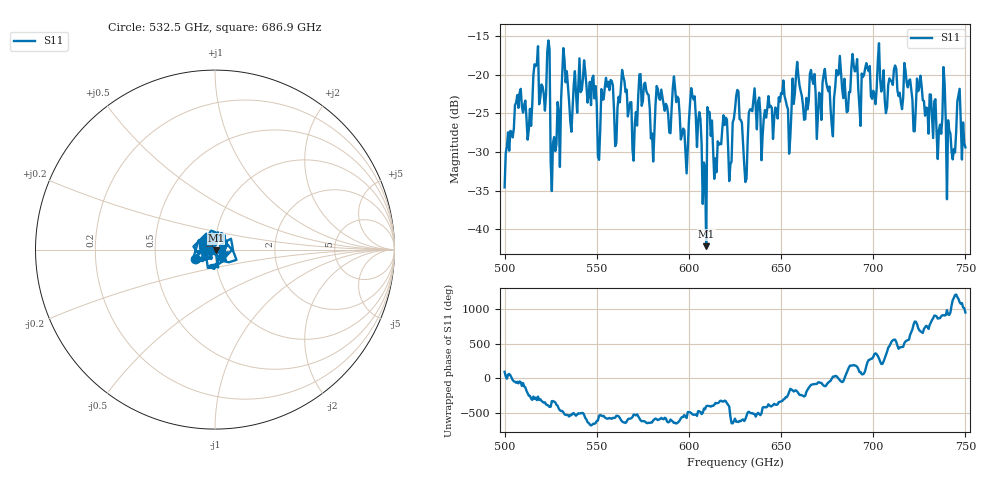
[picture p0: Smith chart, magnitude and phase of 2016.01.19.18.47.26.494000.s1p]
!Created with skrf (http://scikit-rf.org).
# GHz S RI R 50.0
!freq ReS11 ImS11
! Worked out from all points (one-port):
!   401 points, 500 GHz to 750 GHz, reference 50 ohm
!   lowest |S11| = -42.2 dB at 609.4 GHz (marker M1), VSWR 1.02, Z = 50.6 - j0.502 ohm
!   |S11| at or under -10 dB: start of sweep to end of sweep
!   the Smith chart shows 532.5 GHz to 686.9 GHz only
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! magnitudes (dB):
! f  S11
! 500 GHz  -34.6
! 507.5 GHz  -24.3
! 513.8 GHz  -24.4
! 516.9 GHz  -18.9
! 523.1 GHz  -17.1
! 526.2 GHz  -28.8
! 531.2 GHz  -19.9
! 543.1 GHz  -18.1
! 551.2 GHz  -31.0
! 562.5 GHz  -23.6
! 570.6 GHz  -26.4
! 574.4 GHz  -24.0
! 580 GHz  -27.6
! 583.8 GHz  -23.1
! 593.8 GHz  -22.8
! 598.1 GHz  -30.1
! 601.9 GHz  -22.7
! 608.1 GHz  -31.4
! 609.4 GHz  -42.2
! 611.2 GHz  -24.8
! 622.5 GHz  -31.6
! 625 GHz  -24.5
! 630.6 GHz  -33.9
! 634.4 GHz  -24.7
! 656.2 GHz  -20.5
! 687.5 GHz  -22.2
! 718.8 GHz  -21.6
! 750 GHz  -29.4
